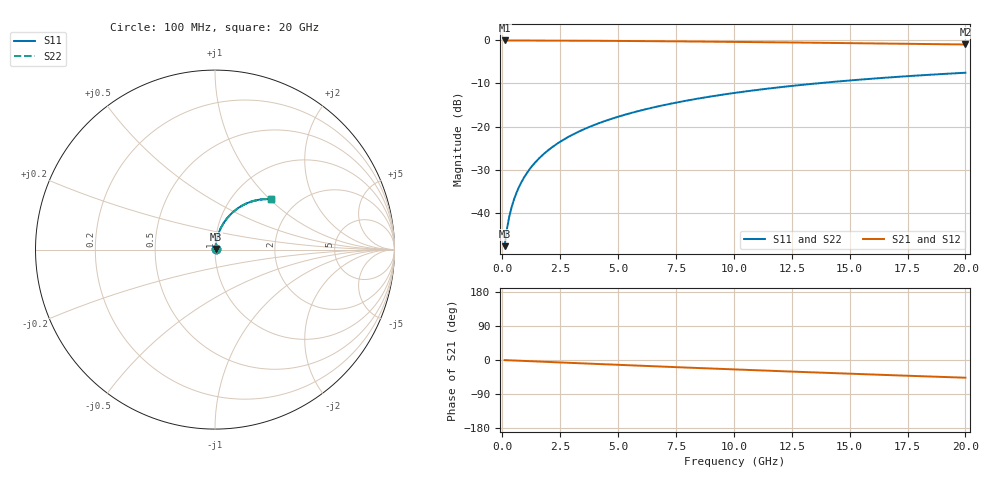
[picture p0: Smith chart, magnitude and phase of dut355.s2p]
! Touchstone file exported from HFSS 2026.1.0
!  File:  C:/ffzhzh/LocalFiles/Ansys_Project_Files/temp_train_BSMRDL_355_1783011506_46388.aedt
!  Generated:  01:00:06 AM Jul  3, 2026
!  Design:  BSMRDL
!  Project:  temp_train_BSMRDL_355_1783011506_46388
! Variables:
!  h_bsmrdl = 4.56um
!  h_ox = 20um
!  h_rdl = 5um
!  h_sub = 80um
!  h_tmrdl = 5um
!  h_tsv = 80um
!  h_via = 3um
!  l_bsmrdl = 698.16um
!  l_sub = 1098.16um
!  l_tmrdl = 200um
!  m_sub = 200um
!  pitch = 47.43um
!  r_tsv = 6um
!  s_tmrdl = 10um
!  w_bsmrdl = 19.77um
!  w_sub = 500um
!  w_tmrdl = 12um
!  x_tsv_center1 = 206um
!  x_tsv_center2 = 923.93um
!  x_tsv_center3 = 1135.93um
!  x_tsv_center4 = 1853.86um
!  x_tsv_center5 = 2065.86um
!  x_tsv_center6 = 2783.79um
# GHz S MA R 50.000000
! Terminal data exported
! Port[1] = BSM_RDL1_1_T1
! Port[2] = BSM_RDL1_1_T2
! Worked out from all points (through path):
!   200 points, 100 MHz to 20 GHz, reference 50 ohm
!   highest |S21| = -0.03 dB at 100 MHz (marker M1); lowest = -1.0 dB at 20 GHz (marker M2)
!   group delay of S21, straight-line fit = 6.49 ps
!   lowest |S11| = -47.8 dB at 100 MHz (marker M3), VSWR 1.01, Z = 50.3 + j0.29 ohm
!   |S11| at or under -10 dB: start of sweep to 13.56 GHz
!   |S22| runs from -47.8 to -7.5 dB; largest |S21 - S12| = 2e-15
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0.1  0.00409 44.8  0.9971 -0.3  0.9971 -0.3  0.00409 44.8
! Gamma 0 0 0 0
! Port Impedance 50 0 50 0
0.2  0.006446 61.3  0.9969 -0.5  0.9969 -0.5  0.006446 61.3
0.3  0.008967 68.4  0.9968 -0.8  0.9968 -0.8  0.008967 68.4
0.4  0.01153 72.4  0.9967 -1.1  0.9967 -1.1  0.01153 72.4
0.5  0.01411 74.9  0.9965 -1.3  0.9965 -1.3  0.01411 74.9
0.6  0.01671 76.6  0.9964 -1.6  0.9964 -1.6  0.01671 76.6
0.8  0.02194 78.7  0.9962 -2.1  0.9962 -2.1  0.02194 78.7
1.1  0.02985 80.1  0.9959 -2.9  0.9959 -2.9  0.02985 80.1
1.5  0.0404 80.6  0.9953 -3.9  0.9953 -3.9  0.0404 80.6
1.8  0.04831 80.5  0.9948 -4.7  0.9948 -4.7  0.04831 80.5
2.1  0.05618 80.2  0.9942 -5.4  0.9942 -5.4  0.05618 80.2
2.7  0.0718 79.3  0.9927 -7.0  0.9927 -7.0  0.0718 79.3
3.5  0.09234 77.7  0.9904 -9.0  0.9904 -9.0  0.09234 77.7
4.2  0.11 76.2  0.988 -10.7  0.988 -10.7  0.11 76.2
5  0.1298 74.4  0.985 -12.7  0.985 -12.7  0.1298 74.4
5.9  0.1517 72.3  0.9812 -15.0  0.9812 -15.0  0.1517 72.3
6.8  0.1731 70.3  0.9771 -17.2  0.9771 -17.2  0.1731 70.2
8.3  0.2075 66.8  0.9695 -20.8  0.9695 -20.8  0.2075 66.8
10.1  0.2469 62.8  0.9595 -25.0  0.9595 -25.0  0.2469 62.7
13.4  0.3132 55.5  0.9391 -32.6  0.9391 -32.6  0.3132 55.4
16.7  0.3713 48.5  0.9173 -39.8  0.9173 -39.8  0.3713 48.4
20  0.4209 41.8  0.8954 -46.7  0.8954 -46.7  0.421 41.7
